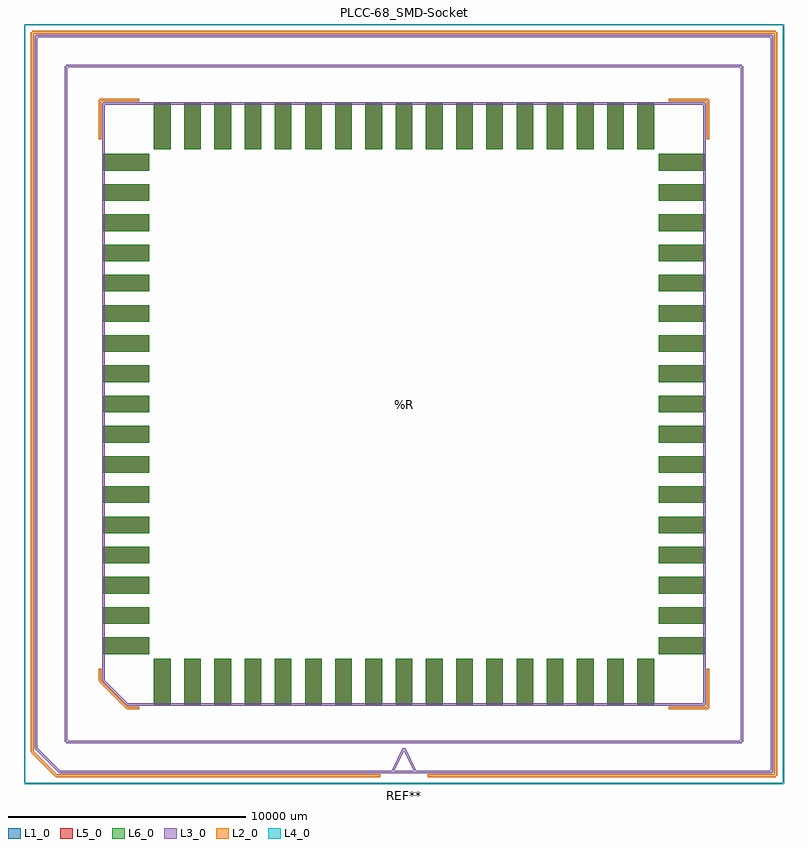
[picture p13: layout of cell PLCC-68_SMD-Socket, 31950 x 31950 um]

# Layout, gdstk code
import gdstk
lib = gdstk.Library(unit=1e-6, precision=1e-09)
def R(c, l, rs):  # rectangles x0, y0, x1, y1
    for r in rs: c.add(gdstk.rectangle(r[:2], r[2:], *l))
def A(c, l, x, y, w, h, nx, ny, dx, dy):  # array of equal rectangles
    R(c, l, [(x+i*dx, y+j*dy, x+i*dx+w, y+j*dy+h) for i in range(nx) for j in range(ny)])
L1_0 = (1, 0)
L2_0 = (2, 0)
L3_0 = (3, 0)
L4_0 = (4, 0)
L5_0 = (5, 0)
L6_0 = (6, 0)

plcc_68_smd_socket = lib.new_cell('PLCC-68_SMD-Socket')
A(plcc_68_smd_socket, L1_0, -10510, -12635, 700, 1925, 17, 2, 1270, 23345)
A(plcc_68_smd_socket, L1_0, -12635, -10510, 1925, 700, 1, 17, 0, 1270)
A(plcc_68_smd_socket, L1_0, 10710, -10510, 1925, 700, 1, 17, 0, 1270)
A(plcc_68_smd_socket, L5_0, -10510, -12635, 700, 1925, 17, 2, 1270, 23345)
A(plcc_68_smd_socket, L5_0, -12635, -10510, 1925, 700, 1, 17, 0, 1270)
A(plcc_68_smd_socket, L5_0, 10710, -10510, 1925, 700, 1, 17, 0, 1270)
A(plcc_68_smd_socket, L6_0, -10510, -12635, 700, 1925, 17, 2, 1270, 23345)
A(plcc_68_smd_socket, L6_0, -12635, -10510, 1925, 700, 1, 17, 0, 1270)
A(plcc_68_smd_socket, L6_0, 10710, -10510, 1925, 700, 1, 17, 0, 1270)
plcc_68_smd_socket.add(gdstk.FlexPath([(-14475,-15475),(-15475,-14475)], 100, ends="flush", simple_path=True, layer=3, datatype=0))  # L3_0
plcc_68_smd_socket.add(gdstk.FlexPath([(-15475,-14475),(-15475,15475)], 100, ends="flush", simple_path=True, layer=3, datatype=0))  # L3_0
plcc_68_smd_socket.add(gdstk.FlexPath([(-15475,15475),(15475,15475)], 100, ends="flush", simple_path=True, layer=3, datatype=0))  # L3_0
plcc_68_smd_socket.add(gdstk.FlexPath([(15475,15475),(15475,-15475)], 100, ends="flush", simple_path=True, layer=3, datatype=0))  # L3_0
plcc_68_smd_socket.add(gdstk.FlexPath([(15475,-15475),(-14475,-15475)], 100, ends="flush", simple_path=True, layer=3, datatype=0))  # L3_0
plcc_68_smd_socket.add(gdstk.FlexPath([(-15950,-15950),(-15950,15950)], 50, ends="flush", simple_path=True, layer=4, datatype=0))  # L4_0
plcc_68_smd_socket.add(gdstk.FlexPath([(-15950,15950),(15950,15950)], 50, ends="flush", simple_path=True, layer=4, datatype=0))  # L4_0
plcc_68_smd_socket.add(gdstk.FlexPath([(15950,15950),(15950,-15950)], 50, ends="flush", simple_path=True, layer=4, datatype=0))  # L4_0
plcc_68_smd_socket.add(gdstk.FlexPath([(15950,-15950),(-15950,-15950)], 50, ends="flush", simple_path=True, layer=4, datatype=0))  # L4_0
plcc_68_smd_socket.add(gdstk.FlexPath([(-11635,-12635),(-12635,-11635)], 100, ends="flush", simple_path=True, layer=3, datatype=0))  # L3_0
plcc_68_smd_socket.add(gdstk.FlexPath([(-12635,-11635),(-12635,12635)], 100, ends="flush", simple_path=True, layer=3, datatype=0))  # L3_0
plcc_68_smd_socket.add(gdstk.FlexPath([(-12635,12635),(12635,12635)], 100, ends="flush", simple_path=True, layer=3, datatype=0))  # L3_0
plcc_68_smd_socket.add(gdstk.FlexPath([(12635,12635),(12635,-12635)], 100, ends="flush", simple_path=True, layer=3, datatype=0))  # L3_0
plcc_68_smd_socket.add(gdstk.FlexPath([(12635,-12635),(-11635,-12635)], 100, ends="flush", simple_path=True, layer=3, datatype=0))  # L3_0
plcc_68_smd_socket.add(gdstk.FlexPath([(-14205,-14205),(-14205,14205)], 100, ends="flush", simple_path=True, layer=3, datatype=0))  # L3_0
plcc_68_smd_socket.add(gdstk.FlexPath([(-14205,14205),(14205,14205)], 100, ends="flush", simple_path=True, layer=3, datatype=0))  # L3_0
plcc_68_smd_socket.add(gdstk.FlexPath([(14205,14205),(14205,-14205)], 100, ends="flush", simple_path=True, layer=3, datatype=0))  # L3_0
plcc_68_smd_socket.add(gdstk.FlexPath([(14205,-14205),(-14205,-14205)], 100, ends="flush", simple_path=True, layer=3, datatype=0))  # L3_0
plcc_68_smd_socket.add(gdstk.FlexPath([(-500,-15475),(0,-14475)], 100, ends="flush", simple_path=True, layer=3, datatype=0))  # L3_0
plcc_68_smd_socket.add(gdstk.FlexPath([(0,-14475),(500,-15475)], 100, ends="flush", simple_path=True, layer=3, datatype=0))  # L3_0
plcc_68_smd_socket.add(gdstk.FlexPath([(-1000,-15625),(-14625,-15625)], 120, ends="flush", simple_path=True, layer=2, datatype=0))  # L2_0
plcc_68_smd_socket.add(gdstk.FlexPath([(-14625,-15625),(-15625,-14625)], 120, ends="flush", simple_path=True, layer=2, datatype=0))  # L2_0
plcc_68_smd_socket.add(gdstk.FlexPath([(-15625,-14625),(-15625,15625)], 120, ends="flush", simple_path=True, layer=2, datatype=0))  # L2_0
plcc_68_smd_socket.add(gdstk.FlexPath([(-15625,15625),(15625,15625)], 120, ends="flush", simple_path=True, layer=2, datatype=0))  # L2_0
plcc_68_smd_socket.add(gdstk.FlexPath([(15625,15625),(15625,-15625)], 120, ends="flush", simple_path=True, layer=2, datatype=0))  # L2_0
plcc_68_smd_socket.add(gdstk.FlexPath([(15625,-15625),(1000,-15625)], 120, ends="flush", simple_path=True, layer=2, datatype=0))  # L2_0
plcc_68_smd_socket.add(gdstk.FlexPath([(-11135,-12785),(-11635,-12785)], 100, ends="flush", simple_path=True, layer=2, datatype=0))  # L2_0
plcc_68_smd_socket.add(gdstk.FlexPath([(-11635,-12785),(-12785,-11635)], 100, ends="flush", simple_path=True, layer=2, datatype=0))  # L2_0
plcc_68_smd_socket.add(gdstk.FlexPath([(-12785,-11635),(-12785,-11135)], 100, ends="flush", simple_path=True, layer=2, datatype=0))  # L2_0
plcc_68_smd_socket.add(gdstk.FlexPath([(11135,-12785),(12785,-12785)], 100, ends="flush", simple_path=True, layer=2, datatype=0))  # L2_0
plcc_68_smd_socket.add(gdstk.FlexPath([(12785,-12785),(12785,-11135)], 100, ends="flush", simple_path=True, layer=2, datatype=0))  # L2_0
plcc_68_smd_socket.add(gdstk.FlexPath([(-11135,12785),(-12785,12785)], 100, ends="flush", simple_path=True, layer=2, datatype=0))  # L2_0
plcc_68_smd_socket.add(gdstk.FlexPath([(-12785,12785),(-12785,11135)], 100, ends="flush", simple_path=True, layer=2, datatype=0))  # L2_0
plcc_68_smd_socket.add(gdstk.FlexPath([(11135,12785),(12785,12785)], 100, ends="flush", simple_path=True, layer=2, datatype=0))  # L2_0
plcc_68_smd_socket.add(gdstk.FlexPath([(12785,12785),(12785,11135)], 100, ends="flush", simple_path=True, layer=2, datatype=0))  # L2_0
plcc_68_smd_socket.add(gdstk.Label('REF**', (0,-16475), layer=2, texttype=0))
plcc_68_smd_socket.add(gdstk.Label('PLCC-68_SMD-Socket', (0,16475), layer=3, texttype=0))
plcc_68_smd_socket.add(gdstk.Label('%R', (0,0), layer=3, texttype=0))

lib.write_gds('PLCC-68_SMD-Socket.gds')
